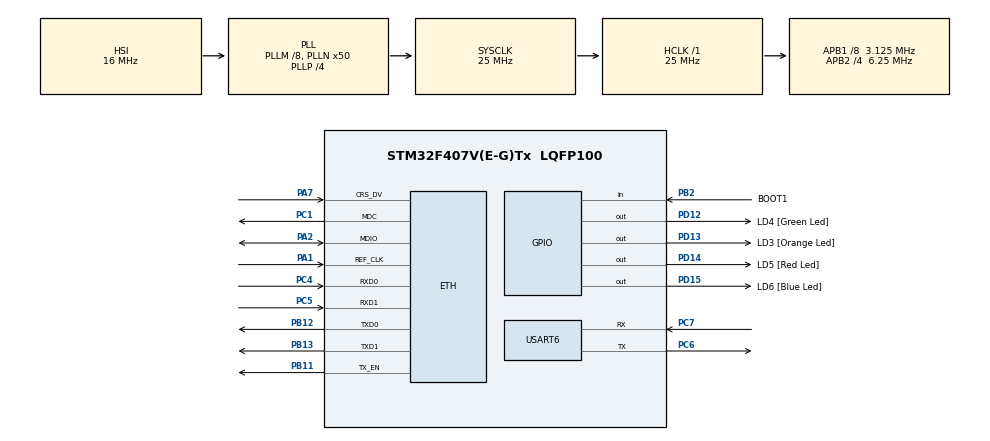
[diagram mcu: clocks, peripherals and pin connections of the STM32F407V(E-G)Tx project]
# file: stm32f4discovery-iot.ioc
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ETH.ChecksumMode=ETH_CHECKSUM_BY_HARDWARE
ETH.MediaInterface=ETH_MEDIA_INTERFACE_RMII
ETH.PhyAddress=0
FREERTOS.MEMORY_ALLOCATION=0
FREERTOS.Queues01=buttonEventQueue,10,uint8_t,0,Dynamic,NULL,NULL
FREERTOS.Tasks01=defaultTask,0,128,StartDefaultTask,Default,NULL,Dynamic,NULL,NULL;blinkyTask,0,128,StartBlinkyTask,Default,NULL,Dynamic,NULL,NULL;buttonTask,0,128,StartButtonTask,Default,NULL,Dynamic,NULL,NULL;toggleTask,0,128,StartToggleTask,Default,NULL,Dynamic,NULL,NULL
FREERTOS.configTOTAL_HEAP_SIZE=15360
LWIP.GATEWAY_ADDRESS=000.000.000.000
LWIP.IP_ADDRESS=192.168.000.100
LWIP.LWIP_DHCP=0
LWIP.LWIP_DNS=1
LWIP.LWIP_HTTPD=0
LWIP.NETMASK_ADDRESS=255.255.255.000
LWIP.Version=v2.0.3_Cube
Mcu.Family=STM32F4
Mcu.Name=STM32F407V(E-G)Tx
Mcu.Package=LQFP100
NVIC.ETH_IRQn=true\:5\:0\:false\:false\:true\:true\:false
NVIC.PriorityGroup=NVIC_PRIORITYGROUP_4
NVIC.TIM1_UP_TIM10_IRQn=true\:0\:0\:false\:false\:true\:false\:false
NVIC.TimeBase=TIM1_UP_TIM10_IRQn
NVIC.TimeBaseIP=TIM1
PA1.Mode=RMII
PA1.Signal=ETH_REF_CLK
PA13.GPIO_Label=SWDIO
PA13.Mode=Serial_Wire
PA13.Signal=SYS_JTMS-SWDIO
PA14.GPIO_Label=SWCLK
PA14.Mode=Serial_Wire
PA14.Signal=SYS_JTCK-SWCLK
PA2.Mode=RMII
PA2.Signal=ETH_MDIO
PA7.Mode=RMII
PA7.Signal=ETH_CRS_DV
PB11.Mode=RMII
PB11.Signal=ETH_TX_EN
PB12.Mode=RMII
PB12.Signal=ETH_TXD0
PB13.Mode=RMII
PB13.Signal=ETH_TXD1
PB2.GPIO_Label=BOOT1
PB2.GPIO_Mode=GPIO_MODE_INPUT
PB2.GPIO_PuPd=GPIO_NOPULL
PB2.Signal=GPIO_Input
PC1.Mode=RMII
PC1.Signal=ETH_MDC
PC14-OSC32_IN.GPIO_Label=PC14-OSC32_IN
PC14-OSC32_IN.Signal=RCC_OSC32_IN
PC15-OSC32_OUT.GPIO_Label=PC15-OSC32_OUT
PC15-OSC32_OUT.Signal=RCC_OSC32_OUT
PC4.Mode=RMII
PC4.Signal=ETH_RXD0
PC5.Mode=RMII
PC5.Signal=ETH_RXD1
PC6.Mode=Asynchronous
PC6.Signal=USART6_TX
PC7.Mode=Asynchronous
PC7.Signal=USART6_RX
PD12.GPIO_Label=LD4 [Green Led]
PD12.GPIO_PuPd=GPIO_NOPULL
PD12.GPIO_Speed=GPIO_SPEED_FREQ_LOW
PD12.Signal=GPIO_Output
PD13.GPIO_Label=LD3 [Orange Led]
PD13.GPIO_PuPd=GPIO_NOPULL
PD13.GPIO_Speed=GPIO_SPEED_FREQ_LOW
PD13.Signal=GPIO_Output
PD14.GPIO_Label=LD5 [Red Led]
PD14.GPIO_PuPd=GPIO_NOPULL
PD14.GPIO_Speed=GPIO_SPEED_FREQ_LOW
PD14.Signal=GPIO_Output
PD15.GPIO_Label=LD6 [Blue Led]
PD15.GPIO_PuPd=GPIO_NOPULL
PD15.GPIO_Speed=GPIO_SPEED_FREQ_LOW
PD15.Signal=GPIO_Output
PH0-OSC_IN.GPIO_Label=PH0-OSC_IN
PH0-OSC_IN.Signal=RCC_OSC_IN
PH1-OSC_OUT.GPIO_Label=PH1-OSC_OUT
PH1-OSC_OUT.Signal=RCC_OSC_OUT
ProjectManager.HeapSize=0x200
ProjectManager.StackSize=0x400
ProjectManager.TargetToolchain=Makefile
RCC.48MHZClocksFreq_Value=14285714.285714285
RCC.AHBFreq_Value=25000000
RCC.APB1CLKDivider=RCC_HCLK_DIV8
RCC.APB1Freq_Value=3125000
RCC.APB1TimFreq_Value=6250000
RCC.APB2CLKDivider=RCC_HCLK_DIV4
RCC.APB2Freq_Value=6250000
RCC.APB2TimFreq_Value=12500000
RCC.CortexFreq_Value=25000000
RCC.HCLKFreq_Value=25000000
RCC.HSE_VALUE=8000000
RCC.HSI_VALUE=16000000
RCC.LSE_VALUE=32768
RCC.PLLM=8
RCC.PLLN=50
RCC.PLLP=RCC_PLLP_DIV4
RCC.PLLQ=7
RCC.SYSCLKFreq_VALUE=25000000
RCC.SYSCLKSource=RCC_SYSCLKSOURCE_PLLCLK
RCC.VCOOutputFreq_Value=100000000
USART6.VirtualMode=VM_ASYNC
VP_FREERTOS_VS_ENABLE.Mode=Enabled
VP_LWIP_VS_Enabled.Mode=Enabled
VP_SYS_VS_tim1.Mode=TIM1
board=STM32F4DISCOVERY

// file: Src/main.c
/* USER CODE BEGIN Header */
/**
  ******************************************************************************
  * @file           : main.c
  * @brief          : Main program body
  ******************************************************************************
  * This notice applies to any and all portions of this file
  * that are not between comment pairs USER CODE BEGIN and
  * USER CODE END. Other portions of this file, whether
  * inserted by the user or by software development tools
  * are owned by their respective copyright owners.
  *
  * Copyright (c) 2019 STMicroelectronics International N.V.
  * All rights reserved.
  *
  * Redistribution and use in source and binary forms, with or without
  * modification, are permitted, provided that the following conditions are met:
  *
  * 1. Redistribution of source code must retain the above copyright notice,
  *    this list of conditions and the following disclaimer.
  * 2. Redistributions in binary form must reproduce the above copyright notice,
  *    this list of conditions and the following disclaimer in the documentation
  *    and/or other materials provided with the distribution.
  * 3. Neither the name of STMicroelectronics nor the names of other
  *    contributors to this software may be used to endorse or promote products
  *    derived from this software without specific written permission.
  * 4. This software, including modifications and/or derivative works of this
  *    software, must execute solely and exclusively on microcontroller or
  *    microprocessor devices manufactured by or for STMicroelectronics.
  * 5. Redistribution and use of this software other than as permitted under
  *    this license is void and will automatically terminate your rights under
  *    this license.
  *
  * THIS SOFTWARE IS PROVIDED BY STMICROELECTRONICS AND CONTRIBUTORS "AS IS"
  * AND ANY EXPRESS, IMPLIED OR STATUTORY WARRANTIES, INCLUDING, BUT NOT
  * LIMITED TO, THE IMPLIED WARRANTIES OF MERCHANTABILITY, FITNESS FOR A
  * PARTICULAR PURPOSE AND NON-INFRINGEMENT OF THIRD PARTY INTELLECTUAL PROPERTY
  * RIGHTS ARE DISCLAIMED TO THE FULLEST EXTENT PERMITTED BY LAW. IN NO EVENT
  * SHALL STMICROELECTRONICS OR CONTRIBUTORS BE LIABLE FOR ANY DIRECT, INDIRECT,
  * INCIDENTAL, SPECIAL, EXEMPLARY, OR CONSEQUENTIAL DAMAGES (INCLUDING, BUT NOT
  * LIMITED TO, PROCUREMENT OF SUBSTITUTE GOODS OR SERVICES; LOSS OF USE, DATA,
  * OR PROFITS; OR BUSINESS INTERRUPTION) HOWEVER CAUSED AND ON ANY THEORY OF
  * LIABILITY, WHETHER IN CONTRACT, STRICT LIABILITY, OR TORT (INCLUDING
  * NEGLIGENCE OR OTHERWISE) ARISING IN ANY WAY OUT OF THE USE OF THIS SOFTWARE,
  * EVEN IF ADVISED OF THE POSSIBILITY OF SUCH DAMAGE.
  *
  ******************************************************************************
  */
/* USER CODE END Header */

#include "main.h"
#include "cmsis_os.h"
#include "lwip.h"
#include "usart.h"
#include "gpio.h"

void SystemClock_Config(void);
void MX_FREERTOS_Init(void);

int main(void)
{

  /* MCU Configuration--------------------------------------------------------*/

  /* Reset of all peripherals, Initializes the Flash interface and the Systick. */
  HAL_Init();

  /* Configure the system clock */
  SystemClock_Config();

  /* Initialize all configured peripherals */
  MX_GPIO_Init();
  MX_USART6_UART_Init();

  /* Call init function for freertos objects (in freertos.c) */
  MX_FREERTOS_Init();

  /* Start scheduler */
  osKernelStart();

  /* We should never get here as control is now taken by the scheduler */

  /* Infinite loop */
  while (1)
  {

  }
}

void SystemClock_Config(void)
{
  RCC_OscInitTypeDef RCC_OscInitStruct = {0};
  RCC_ClkInitTypeDef RCC_ClkInitStruct = {0};

  /**Configure the main internal regulator output voltage
  */
  __HAL_RCC_PWR_CLK_ENABLE();
  __HAL_PWR_VOLTAGESCALING_CONFIG(PWR_REGULATOR_VOLTAGE_SCALE1);
  /**Initializes the CPU, AHB and APB busses clocks
  */
  RCC_OscInitStruct.OscillatorType = RCC_OSCILLATORTYPE_HSI;
  RCC_OscInitStruct.HSIState = RCC_HSI_ON;
  RCC_OscInitStruct.HSICalibrationValue = RCC_HSICALIBRATION_DEFAULT;
  RCC_OscInitStruct.PLL.PLLState = RCC_PLL_ON;
  RCC_OscInitStruct.PLL.PLLSource = RCC_PLLSOURCE_HSI;
  RCC_OscInitStruct.PLL.PLLM = 8;
  RCC_OscInitStruct.PLL.PLLN = 50;
  RCC_OscInitStruct.PLL.PLLP = RCC_PLLP_DIV4;
  RCC_OscInitStruct.PLL.PLLQ = 7;
  if (HAL_RCC_OscConfig(&RCC_OscInitStruct) != HAL_OK)
  {
    Error_Handler();
  }
  /**Initializes the CPU, AHB and APB busses clocks
  */
  RCC_ClkInitStruct.ClockType = RCC_CLOCKTYPE_HCLK|RCC_CLOCKTYPE_SYSCLK
                              |RCC_CLOCKTYPE_PCLK1|RCC_CLOCKTYPE_PCLK2;
  RCC_ClkInitStruct.SYSCLKSource = RCC_SYSCLKSOURCE_PLLCLK;
  RCC_ClkInitStruct.AHBCLKDivider = RCC_SYSCLK_DIV1;
  RCC_ClkInitStruct.APB1CLKDivider = RCC_HCLK_DIV8;
  RCC_ClkInitStruct.APB2CLKDivider = RCC_HCLK_DIV4;

  if (HAL_RCC_ClockConfig(&RCC_ClkInitStruct, FLASH_LATENCY_0) != HAL_OK)
  {
    Error_Handler();
  }
}

void HAL_TIM_PeriodElapsedCallback(TIM_HandleTypeDef *htim)
{
  if (htim->Instance == TIM1) {
    HAL_IncTick();
  }
}

void Error_Handler(void)
{
}

/************************ (C) COPYRIGHT STMicroelectronics *****END OF FILE****/

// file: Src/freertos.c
/* USER CODE BEGIN Header */
/**
  ******************************************************************************
  * File Name          : freertos.c
  * Description        : Code for freertos applications
  ******************************************************************************
  * This notice applies to any and all portions of this file
  * that are not between comment pairs USER CODE BEGIN and
  * USER CODE END. Other portions of this file, whether
  * inserted by the user or by software development tools
  * are owned by their respective copyright owners.
  *
  * Copyright (c) 2019 STMicroelectronics International N.V.
  * All rights reserved.
  *
  * Redistribution and use in source and binary forms, with or without
  * modification, are permitted, provided that the following conditions are met:
  *
  * 1. Redistribution of source code must retain the above copyright notice,
  *    this list of conditions and the following disclaimer.
  * 2. Redistributions in binary form must reproduce the above copyright notice,
  *    this list of conditions and the following disclaimer in the documentation
  *    and/or other materials provided with the distribution.
  * 3. Neither the name of STMicroelectronics nor the names of other
  *    contributors to this software may be used to endorse or promote products
  *    derived from this software without specific written permission.
  * 4. This software, including modifications and/or derivative works of this
  *    software, must execute solely and exclusively on microcontroller or
  *    microprocessor devices manufactured by or for STMicroelectronics.
  * 5. Redistribution and use of this software other than as permitted under
  *    this license is void and will automatically terminate your rights under
  *    this license.
  *
  * THIS SOFTWARE IS PROVIDED BY STMICROELECTRONICS AND CONTRIBUTORS "AS IS"
  * AND ANY EXPRESS, IMPLIED OR STATUTORY WARRANTIES, INCLUDING, BUT NOT
  * LIMITED TO, THE IMPLIED WARRANTIES OF MERCHANTABILITY, FITNESS FOR A
  * PARTICULAR PURPOSE AND NON-INFRINGEMENT OF THIRD PARTY INTELLECTUAL PROPERTY
  * RIGHTS ARE DISCLAIMED TO THE FULLEST EXTENT PERMITTED BY LAW. IN NO EVENT
  * SHALL STMICROELECTRONICS OR CONTRIBUTORS BE LIABLE FOR ANY DIRECT, INDIRECT,
  * INCIDENTAL, SPECIAL, EXEMPLARY, OR CONSEQUENTIAL DAMAGES (INCLUDING, BUT NOT
  * LIMITED TO, PROCUREMENT OF SUBSTITUTE GOODS OR SERVICES; LOSS OF USE, DATA,
  * OR PROFITS; OR BUSINESS INTERRUPTION) HOWEVER CAUSED AND ON ANY THEORY OF
  * LIABILITY, WHETHER IN CONTRACT, STRICT LIABILITY, OR TORT (INCLUDING
  * NEGLIGENCE OR OTHERWISE) ARISING IN ANY WAY OUT OF THE USE OF THIS SOFTWARE,
  * EVEN IF ADVISED OF THE POSSIBILITY OF SUCH DAMAGE.
  *
  ******************************************************************************
  */
/* USER CODE END Header */

#include "FreeRTOS.h"
#include "task.h"
#include "main.h"
#include "cmsis_os.h"

/* USER CODE BEGIN Includes */
#define USE_PRINTF
#define USE_NETIF

#ifdef USE_PRINTF
/* Used to override _write */
#include <errno.h>
#include <sys/unistd.h>
#endif

#ifdef USE_NETIF
#include "socket.h"
#include <string.h>
#endif

#include "gpio.h"
#include "usart.h"
/* USER CODE END Includes */

osThreadId defaultTaskHandle;
osThreadId blinkyTaskHandle;
osThreadId buttonTaskHandle;
osThreadId toggleTaskHandle;
osMessageQId buttonEventQueueHandle;

/* USER CODE BEGIN FunctionPrototypes */
#ifdef USE_PRINTF
extern int _write(int file, char *data, int len);
#endif
/* USER CODE END FunctionPrototypes */

void StartDefaultTask(void const * argument);
void StartBlinkyTask(void const * argument);
void StartButtonTask(void const * argument);
void StartToggleTask(void const * argument);

extern void MX_LWIP_Init(void);
void MX_FREERTOS_Init(void); /* (MISRA C 2004 rule 8.1) */

void MX_FREERTOS_Init(void) {

  /* Create the thread(s) */
  /* definition and creation of defaultTask */
  osThreadDef(defaultTask, StartDefaultTask, osPriorityNormal, 0, 128);
  defaultTaskHandle = osThreadCreate(osThread(defaultTask), NULL);

  /* definition and creation of blinkyTask */
  osThreadDef(blinkyTask, StartBlinkyTask, osPriorityNormal, 0, 128);
  blinkyTaskHandle = osThreadCreate(osThread(blinkyTask), NULL);

  /* definition and creation of buttonTask */
  osThreadDef(buttonTask, StartButtonTask, osPriorityNormal, 0, 128);
  buttonTaskHandle = osThreadCreate(osThread(buttonTask), NULL);

  /* definition and creation of toggleTask */
  osThreadDef(toggleTask, StartToggleTask, osPriorityNormal, 0, 128);
  toggleTaskHandle = osThreadCreate(osThread(toggleTask), NULL);

  /* Create the queue(s) */
  /* definition and creation of buttonEventQueue */
  osMessageQDef(buttonEventQueue, 10, uint8_t);
  buttonEventQueueHandle = osMessageCreate(osMessageQ(buttonEventQueue), NULL);

}

void StartDefaultTask(void const * argument)
{
  /* init code for LWIP */
  MX_LWIP_Init();

  for(;;)
  {
    osDelay(1);
  }
}

void StartBlinkyTask(void const * argument)
{
	/* USER CODE BEGIN StartBlinkyTask */
	/* Infinite loop */
	for (;;) {
		HAL_GPIO_TogglePin(GPIOD, GPIO_PIN_12);

		/*
		 Delay for a period of time. vTaskDelay() places the task into
		 the Blocked state until the period has expired.
		 The delay period is spacified in 'ticks'. We can convert
		 yhis in milisecond with the constant portTICK_RATE_MS.
		 */
		vTaskDelay(1500 / portTICK_RATE_MS);
	}
	/* USER CODE END StartBlinkyTask */
}

void StartButtonTask(void const * argument)
{
	/* USER CODE BEGIN StartButtonTask */
	uint8_t sig = 1u;
	char msg[] = ".";
#ifdef USE_NETIF
	struct sockaddr_in dstaddr;
	memset(&dstaddr, 0, sizeof(dstaddr));
	dstaddr.sin_family = AF_INET;
	dstaddr.sin_port = PP_HTONS(8080);
	dstaddr.sin_addr.s_addr = inet_addr("192.168.0.1");
	int sh = socket(AF_INET, SOCK_DGRAM, 0); /* TODO Implement Error Handling */
	connect(sh, (struct sockaddr* )&dstaddr, sizeof(dstaddr)); /* TODO Implement Error Handling */
#endif

	/* Infinite loop */
	for (;;) {
		/* Detect Button Press  */
		if (HAL_GPIO_ReadPin(GPIOA, GPIO_PIN_0) > 0) {
			while (HAL_GPIO_ReadPin(GPIOA, GPIO_PIN_0) > 0)
				vTaskDelay(100 / portTICK_RATE_MS); /* Button Debounce Delay */
			while (HAL_GPIO_ReadPin(GPIOA, GPIO_PIN_0) == 0)
				vTaskDelay(100 / portTICK_RATE_MS); /* Button Debounce Delay */

			xQueueSendToBack(buttonEventQueueHandle, &sig, 0); /* Send Message */

#ifdef USE_PRINTF
			printf("%s", msg);
			fflush(stdout);
#else
			HAL_UART_Transmit(&huart6, msg, sizeof(msg), 0); /* TODO Implement Error Handling */
#endif

#ifdef USE_NETIF
			send(sh, msg, sizeof(msg), 0); /* TODO Implement Error Handling */
#endif
		}
	}
	/* USER CODE END StartButtonTask */
}

void StartToggleTask(void const * argument)
{
	/* USER CODE BEGIN StartToggleTask */
	uint8_t sig;
	portBASE_TYPE status;
	/* Infinite loop */
	for (;;) {
		status = xQueueReceive(buttonEventQueueHandle, &sig, portMAX_DELAY); /* Receive Message */
		/* portMAX_DELAY blocks task indefinitely if queue is empty */
		if (status == pdTRUE) {
			HAL_GPIO_TogglePin(GPIOD, GPIO_PIN_14);
		}
	}
	/* USER CODE END StartToggleTask */
}

/* USER CODE BEGIN Application */
#ifdef USE_PRINTF
/**
 * @brief Function overriding _write routine to redirect stdout to USART6
 * @param file: File descriptor
 * @param data: Pointer to data buffer
 * @param len:  Amount of data to be sent
 * @retval 0:   OK, -1: Error
 * @note Reentrancy:  No (because it calls non-reentrant function that uses a global variable and HW registers)
 * @note Thread-safe: No (the called function does not ensure the global data in a consistent state during execution nor synchronizes access to the HW registers)
 * @note Sync/Async:  Synchronous (the called transmit function busy waits and returns after data is physically sent over the wire, caveat: wastes CPU time)
 */
extern int _write(int file, char *data, int len)
{
   if ((file != STDOUT_FILENO) && (file != STDERR_FILENO))
   {
      errno = EBADF;
      return -1;
   }

   HAL_StatusTypeDef status = HAL_UART_Transmit(&huart6, (uint8_t*)data, len, 0); /* TODO Implement Busy, Timeout, Error Handling */

   // return # of bytes written - as best we can tell
   return (status == HAL_OK ? len : 0);
}
#endif
/* USER CODE END Application */

/************************ (C) COPYRIGHT STMicroelectronics *****END OF FILE****/
